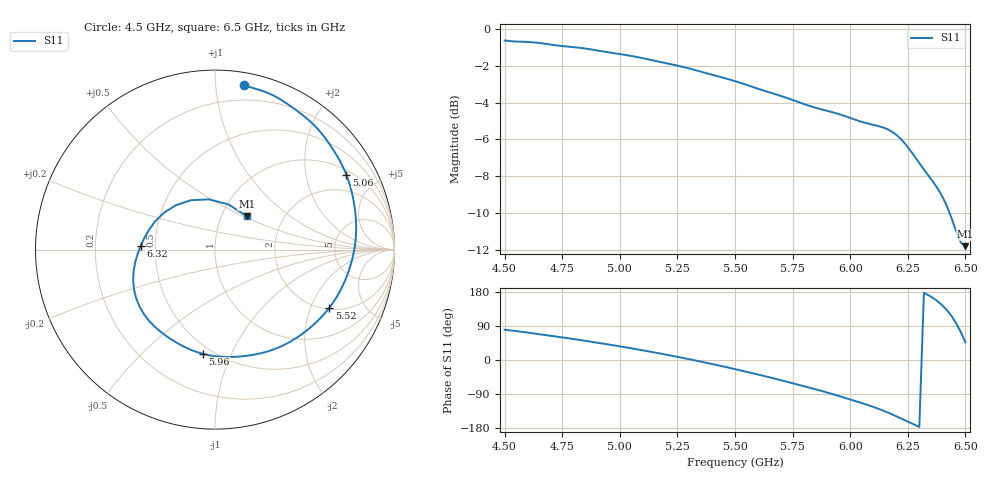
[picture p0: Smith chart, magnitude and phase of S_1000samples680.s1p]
! TOUCHSTONE file generated by CST MICROWAVE STUDIO
! Date and time: Sat Oct 29 00:25:17 2022
! Project name: L.cst
! Parameters = {Di=1.27; Epsilon_r=1.56; InnerDiameter=1.27; Length=2; Lf=10; Lg=60; OuterConductorThickness=0.2921; OuterDiameter=3.6; Wf=3; Wp=41.2; de=1.5; df=6.8; g=0.8; gx=1.06289; gy=2.48361; h=2.34; hf=1.524; px=8.2627; py=12.6201; w=9.7; wx=7.19981; wy=10.1364}
! Header version: 2018
! Port assignment regex: !\s*Touchstone port\s*([0-9]+)\s*=\s*(CST MWS port|CST DS port)\s*([0-9]+|Zmin|Zmax)\s*\(\"(.*)\"\)(\s*mode\s*([0-9]+))?.*
! Touchstone port assignment:
! Touchstone port 1 = CST MWS port 1 ("")
# GHz S DB R 50
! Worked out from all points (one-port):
!   101 points, 4.5 GHz to 6.5 GHz, reference 50 ohm
!   lowest |S11| = -11.8 dB at 6.5 GHz (marker M1), VSWR 1.69, Z = 65.6 + j26.2 ohm
!   |S11| at or under -10 dB: 6.431 GHz to end of sweep
!   S11 on the Smith chart (normalised r, x): 4.5 GHz: 0.09, +1.19; 5.06 GHz: 1.18, +3.39; 5.52 GHz: 2.07, -2.74; 5.96 GHz: 0.45, -0.79; 6.32 GHz: 0.41, +0.02; 6.5 GHz: 1.31, +0.52
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4.5  -0.63 79.9
4.62  -0.72 70.7
4.76  -0.94 58.8
4.86  -1.08 49.7
5  -1.37 36.1
5.06  -1.49 29.8
5.16  -1.75 18.8
5.26  -2.02 7.1
5.38  -2.42 -7.9
5.5  -2.84 -24.1
5.52  -2.91 -26.9
5.64  -3.41 -44.3
5.76  -3.90 -62.9
5.86  -4.32 -79.0
5.96  -4.66 -96.7
6  -4.83 -104.1
6.08  -5.15 -119.6
6.14  -5.34 -132.8
6.2  -5.75 -148.5
6.26  -6.58 -165.3
6.32  -7.64 177.3
6.38  -8.67 154.6
6.4  -9.10 144.1
6.42  -9.64 131.4
6.44  -10.28 116.0
6.46  -10.99 97.0
6.48  -11.61 73.7
6.5  -11.80 46.5
